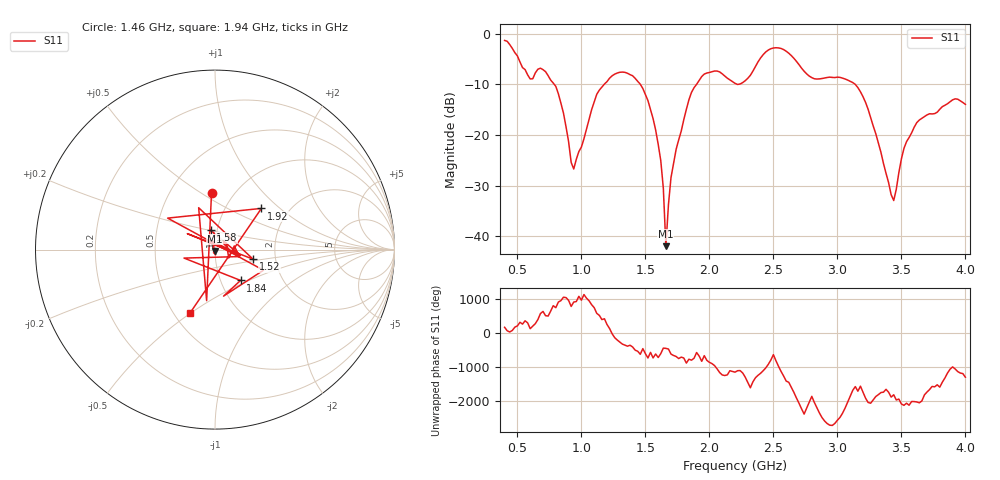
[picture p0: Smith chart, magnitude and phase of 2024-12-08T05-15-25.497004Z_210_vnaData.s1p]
!Created with skrf (http://scikit-rf.org).
# Hz S RI R 50.0
!freq ReS11 ImS11
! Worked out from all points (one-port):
!   181 points, 400 MHz to 4 GHz, reference 50 ohm
!   lowest |S11| = -42.0 dB at 1.66 GHz (marker M1), VSWR 1.02, Z = 50 - j0.796 ohm
!   |S11| at or under -10 dB: 788.3 MHz to 1.177 GHz (389.1 MHz wide, 39.6 % of centre); 1.461 GHz to 1.899 GHz (438.4 MHz wide, 26.1 % of centre); 3.14 GHz to end of sweep (the widest 3 of 4)
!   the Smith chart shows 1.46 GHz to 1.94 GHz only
!   S11 on the Smith chart (normalised r, x): 1.46 GHz: 0.79, +0.56; 1.52 GHz: 1.53, -0.17; 1.58 GHz: 0.93, +0.21; 1.84 GHz: 1.24, -0.45; 1.92 GHz: 1.46, +0.76; 1.94 GHz: 0.60, -0.50
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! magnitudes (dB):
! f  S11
! 400 MHz  -1.3
! 600 MHz  -8.9
! 720 MHz  -7.5
! 860 MHz  -15.7
! 940 MHz  -26.7
! 1.12 GHz  -11.9
! 1.3 GHz  -7.6
! 1.46 GHz  -10.0
! 1.52 GHz  -13.2
! 1.58 GHz  -19.0
! 1.64 GHz  -30.5
! 1.66 GHz  -42.0
! 1.7 GHz  -28.4
! 1.76 GHz  -21.0
! 1.84 GHz  -13.0
! 1.92 GHz  -9.2
! 1.94 GHz  -8.4
! 2.2 GHz  -9.8
! 2.48 GHz  -2.9
! 2.66 GHz  -4.8
! 2.82 GHz  -8.9
! 3.1 GHz  -9.4
! 3.24 GHz  -14.9
! 3.44 GHz  -33.0
! 3.5 GHz  -24.7
! 3.56 GHz  -20.5
! 3.7 GHz  -16.0
! 4 GHz  -13.9
